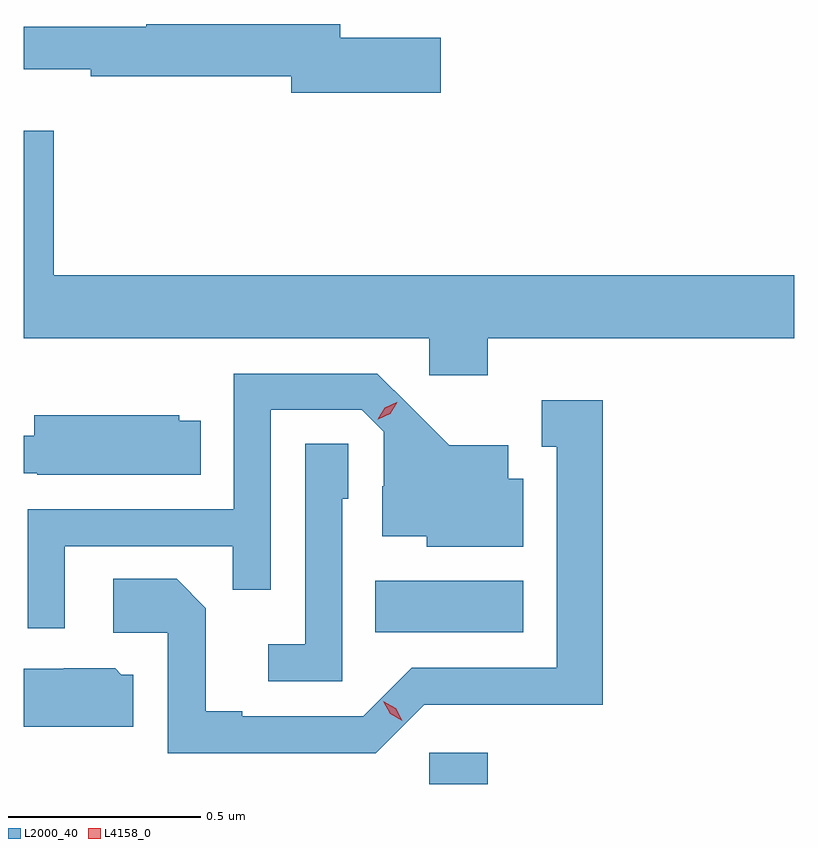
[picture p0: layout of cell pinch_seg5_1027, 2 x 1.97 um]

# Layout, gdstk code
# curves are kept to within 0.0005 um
import gdstk
lib = gdstk.Library(unit=1e-6, precision=1e-09)
def R(c, l, rs):  # rectangles x0, y0, x1, y1
    for r in rs: c.add(gdstk.rectangle(r[:2], r[2:], *l))
def P(c, l, *ps):  # polygons
    for p in ps: c.add(gdstk.Polygon(p, *l))
L2000_40 = (2000, 40)
L4158_0 = (4158, 0)

pinch_seg5_1027 = lib.new_cell('pinch_seg5_1027')
R(pinch_seg5_1027, L2000_40, [(717.594,846.28,717.746,846.361), (717.454,846.674,717.838,846.808)])
P(pinch_seg5_1027, L2000_40, [(717.625,848.216),(717.364,848.216),(717.364,848.252),(716.86,848.252),(716.86,848.245),(716.542,848.245),(716.542,848.135),(716.716,848.135),(716.716,848.116),(717.236,848.116),(717.236,848.074),(717.625,848.074)],
  [(717.746,847.436),(718.542,847.436),(718.542,847.6),(716.62,847.6),(716.62,847.975),(716.542,847.975),(716.542,847.436),(717.594,847.436),(717.594,847.341),(717.746,847.341)],
  [(716.649,846.897),(717.085,846.897),(717.085,846.784),(717.183,846.784),(717.183,847.251),(717.42,847.251),(717.477,847.194),(717.477,847.052),(717.473,847.052),(717.473,846.923),(717.588,846.923),(717.588,846.896),(717.838,846.896),(717.838,847.072),(717.799,847.072),(717.799,847.159),(717.647,847.159),(717.46,847.344),(717.087,847.344),(717.087,846.993),(716.553,846.993),(716.553,846.684),(716.649,846.684)],
  [(717.582,846.486),(717.804,846.486),(717.804,846.485),(718.045,846.485),(718.045,847.276),(717.887,847.276),(717.887,847.155),(717.926,847.155),(717.926,846.582),(717.549,846.582),(717.423,846.456),(717.109,846.456),(717.109,846.469),(717.015,846.469),(717.015,846.736),(716.939,846.812),(716.775,846.812),(716.775,846.672),(716.916,846.672),(716.916,846.36),(717.456,846.36)],
  [(717.002,847.222),(716.946,847.222),(716.946,847.237),(716.57,847.237),(716.57,847.183),(716.542,847.183),(716.542,847.086),(716.578,847.086),(716.578,847.082),(717.002,847.082)],
  [(717.369,847.02),(717.384,847.02),(717.384,847.163),(717.273,847.163),(717.273,846.643),(717.177,846.643),(717.177,846.546),(717.369,846.546)],
  [(716.827,846.564),(716.796,846.564),(716.78,846.58),(716.646,846.58),(716.646,846.579),(716.542,846.579),(716.542,846.428),(716.827,846.428)])
P(pinch_seg5_1027, L4158_0, [(717.461,847.226),(717.461,847.226),(717.479,847.256),(717.51,847.27),(717.511,847.27),(717.511,847.27),(717.493,847.241),(717.462,847.226)],
  [(717.525,846.444),(717.493,846.462),(717.475,846.495),(717.475,846.495),(717.475,846.495),(717.507,846.476),(717.525,846.444),(717.525,846.444)])

lib.write_gds('pinch_seg5_1027.gds')
